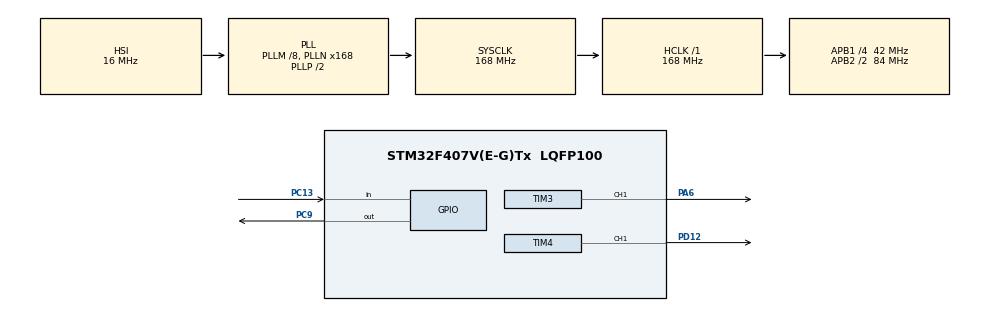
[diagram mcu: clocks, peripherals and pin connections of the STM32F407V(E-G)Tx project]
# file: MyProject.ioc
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Mcu.Family=STM32F4
Mcu.Name=STM32F407V(E-G)Tx
Mcu.Package=LQFP100
NVIC.PriorityGroup=NVIC_PRIORITYGROUP_0
NVIC.TIM3_IRQn=true\:0\:0\:false\:false\:true\:true\:true
PA6.Signal=S_TIM3_CH1
PC13-ANTI_TAMP.Signal=GPIO_Input
PC9.Signal=GPIO_Output
PD12.Signal=S_TIM4_CH1
ProjectManager.HeapSize=0x200
ProjectManager.StackSize=0x400
ProjectManager.TargetToolchain=STM32CubeIDE
RCC.48MHZClocksFreq_Value=67200000
RCC.AHBFreq_Value=168000000
RCC.APB1CLKDivider=RCC_HCLK_DIV4
RCC.APB1Freq_Value=42000000
RCC.APB1TimFreq_Value=84000000
RCC.APB2CLKDivider=RCC_HCLK_DIV2
RCC.APB2Freq_Value=84000000
RCC.APB2TimFreq_Value=168000000
RCC.CortexFreq_Value=168000000
RCC.HCLKFreq_Value=168000000
RCC.HSE_VALUE=8000000
RCC.HSI_VALUE=16000000
RCC.LSE_VALUE=32768
RCC.PLLI2SN=50
RCC.PLLM=8
RCC.PLLN=168
RCC.PLLQ=5
RCC.SYSCLKFreq_VALUE=168000000
RCC.SYSCLKSource=RCC_SYSCLKSOURCE_PLLCLK
RCC.VCOOutputFreq_Value=336000000
SH.S_TIM3_CH1.0=TIM3_CH1,PWM Generation1 CH1
SH.S_TIM4_CH1.0=TIM4_CH1,PWM Generation1 CH1
TIM3.AutoReloadPreload=TIM_AUTORELOAD_PRELOAD_ENABLE
TIM3.Channel-PWM\ Generation1\ CH1=TIM_CHANNEL_1
TIM3.Period=84-1
TIM3.Prescaler=0
TIM4.AutoReloadPreload=TIM_AUTORELOAD_PRELOAD_ENABLE
TIM4.Channel-PWM\ Generation1\ CH1=TIM_CHANNEL_1
TIM4.OCFastMode_PWM-PWM\ Generation1\ CH1=TIM_OCFAST_ENABLE
TIM4.Period=336-1
VP_TIM3_VS_ClockSourceINT.Mode=Internal
VP_TIM4_VS_ClockSourceINT.Mode=Internal
board=STM32F407G-DISC1

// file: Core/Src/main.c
/* USER CODE BEGIN Header */
/**
  ******************************************************************************
  * @file           : main.c
  * @brief          : Main program body
  ******************************************************************************
  * @attention
  *
  * <h2><center>&copy; Copyright (c) 2021 STMicroelectronics.
  * All rights reserved.</center></h2>
  *
  * This software component is licensed by ST under Ultimate Liberty license
  * SLA0044, the "License"; You may not use this file except in compliance with
  * the License. You may obtain a copy of the License at:
  *                             www.st.com/SLA0044
  *
  ******************************************************************************
  */
/* USER CODE END Header */
#include "main.h"

/* USER CODE BEGIN Includes */
#include <MY9221.h>
/* USER CODE END Includes */

/* USER CODE BEGIN PD */
#define hspd 	0
/* HSPD: Iout Tr/Tf select
 * 0: Iout slow mode
 * 1: Iout fast mode
*/
#define bs 		0
/* BS: Grayscale resolution select
 * 0: 8-bit grayscale application
 * 1: 12-bit grayscale application
 * 2: 14-bit grayscale application
 * 3: 16-bit grayscale application
 */
#define gck		0
/* GCK: Internal oscillator frequency select
 * 0: Original frequency (8.6MHz)
 * 1: Original frequency/2
 * 2: Original frequency/4
 * 3: Original frequency/8
 * 4: Original frequency/16
 * 5: Original frequency/64
 * 6: Original frequency/128
 * 7: Original frequency/256
*/
#define sep		0
/* SEP: Output waveform select
 * 0: PY-PWM output waveform (similar to traditional waveform)
 * 1: APDM output waveform
*/
#define osc		0
/* OSC: Grayscale clock source select
 * 0: Internal oscillator (8.6MHZ) (internal GCK source)
 * 1: External clock from GCKI pin (external GCK source)
*/
#define pol		0
/* POL: Output polarity select
 * 0: work as LED driver
 * 1: work as MY-PWM/APDM generator
*/
#define cntset	0
/* CNTSET: Counter reset select
 * 0: free running mode
 * 1: counter reset mode (only usable when osc = '1')
*/
#define onest	0
/* ONEST: One-shot select
 * 0: frame cycle repeat mode
 * 1: frame cycle one-shot mode (only usable when cntset = '1')
*/
/* USER CODE END PD */

TIM_HandleTypeDef htim3;
TIM_HandleTypeDef htim4;

/* USER CODE BEGIN PV */
int CMDArray[16];
int GrayscaleArray[192];
int ColorArray[8] = {0,0,1,0,0,0,0,0}; //Make sure length matches selected grayscale!
//int DataArray[208];
int InputArray[208];
short int InputCounter = 0;

//int TestArray[8]= {1,0,0,1,0,0,0,0};
//short int TestCounter = 0;

/* USER CODE END PV */

void SystemClock_Config(void);
static void MX_GPIO_Init(void);
static void MX_TIM3_Init(void);
static void MX_TIM4_Init(void);
/* USER CODE BEGIN PFP */
void uS_Delay(int);

/* USER CODE END PFP */

int main(void)
{

  /* MCU Configuration--------------------------------------------------------*/

  /* Reset of all peripherals, Initializes the Flash interface and the Systick. */
  HAL_Init();

  /* USER CODE BEGIN Init */
  CMDArray_Init(CMDArray, hspd, bs, gck, sep, osc, pol, cntset, onest);
  Grayscale_Init(GrayscaleArray, bs, ColorArray);
  InputArray_Init(InputArray, CMDArray, GrayscaleArray);

  /* USER CODE END Init */

  /* Configure the system clock */
  SystemClock_Config();

  /* Initialize all configured peripherals */
  MX_GPIO_Init();
  MX_TIM3_Init();
  MX_TIM4_Init();
  /* USER CODE BEGIN 2 */
  HAL_TIM_PWM_Start(&htim3, TIM_CHANNEL_1);		// start the pwm
  HAL_TIM_PWM_Start(&htim4, TIM_CHANNEL_1);
  HAL_TIM_Base_Start_IT(&htim3);

  /* USER CODE END 2 */

  /* Infinite loop */
  /* USER CODE BEGIN WHILE */
  htim3.Instance->CCR1 = (int)(167 * 50 / 100);	//50% duty cycle
  htim4.Instance->CCR1 = (int)(335 * 50 / 100);

  //__disable_irq();
  while (1)
  {
    /* USER CODE END WHILE */

    /* USER CODE BEGIN 3 */

	if (InputCounter == 0)
	{
		__disable_irq();
		GPIOC->BSRR = (1<<25);
		HAL_TIM_PWM_Stop(&htim4, TIM_CHANNEL_1);
		GPIOD->ODR &= ~(1<<12);
		//HAL_Delay(2);
		uS_Delay(40000);
		//Toggle PC9 4 times;
		uS_Delay(100);
		GPIOC->BSRR = (1<<25);
		uS_Delay(100);
		GPIOC->BSRR = (1<<9);
		uS_Delay(100);
		GPIOC->BSRR = (1<<25);
		uS_Delay(100);
		GPIOC->BSRR = (1<<9);
		uS_Delay(100);
		GPIOC->BSRR = (1<<25);
		uS_Delay(100);
		GPIOC->BSRR = (1<<9);
		uS_Delay(100);
		GPIOC->BSRR = (1<<25);
		uS_Delay(40000);
		HAL_TIM_PWM_Start(&htim4, TIM_CHANNEL_1);
	}
	__enable_irq();

  }
  /* USER CODE END 3 */
}

void SystemClock_Config(void)
{
  RCC_OscInitTypeDef RCC_OscInitStruct = {0};
  RCC_ClkInitTypeDef RCC_ClkInitStruct = {0};

  /** Configure the main internal regulator output voltage
  */
  __HAL_RCC_PWR_CLK_ENABLE();
  __HAL_PWR_VOLTAGESCALING_CONFIG(PWR_REGULATOR_VOLTAGE_SCALE1);
  /** Initializes the RCC Oscillators according to the specified parameters
  * in the RCC_OscInitTypeDef structure.
  */
  RCC_OscInitStruct.OscillatorType = RCC_OSCILLATORTYPE_HSI;
  RCC_OscInitStruct.HSIState = RCC_HSI_ON;
  RCC_OscInitStruct.HSICalibrationValue = RCC_HSICALIBRATION_DEFAULT;
  RCC_OscInitStruct.PLL.PLLState = RCC_PLL_ON;
  RCC_OscInitStruct.PLL.PLLSource = RCC_PLLSOURCE_HSI;
  RCC_OscInitStruct.PLL.PLLM = 8;
  RCC_OscInitStruct.PLL.PLLN = 168;
  RCC_OscInitStruct.PLL.PLLP = RCC_PLLP_DIV2;
  RCC_OscInitStruct.PLL.PLLQ = 5;
  if (HAL_RCC_OscConfig(&RCC_OscInitStruct) != HAL_OK)
  {
    Error_Handler();
  }
  /** Initializes the CPU, AHB and APB buses clocks
  */
  RCC_ClkInitStruct.ClockType = RCC_CLOCKTYPE_HCLK|RCC_CLOCKTYPE_SYSCLK
                              |RCC_CLOCKTYPE_PCLK1|RCC_CLOCKTYPE_PCLK2;
  RCC_ClkInitStruct.SYSCLKSource = RCC_SYSCLKSOURCE_PLLCLK;
  RCC_ClkInitStruct.AHBCLKDivider = RCC_SYSCLK_DIV1;
  RCC_ClkInitStruct.APB1CLKDivider = RCC_HCLK_DIV4;
  RCC_ClkInitStruct.APB2CLKDivider = RCC_HCLK_DIV2;

  if (HAL_RCC_ClockConfig(&RCC_ClkInitStruct, FLASH_LATENCY_5) != HAL_OK)
  {
    Error_Handler();
  }
}

static void MX_TIM3_Init(void)
{

  TIM_ClockConfigTypeDef sClockSourceConfig = {0};
  TIM_MasterConfigTypeDef sMasterConfig = {0};
  TIM_OC_InitTypeDef sConfigOC = {0};

  htim3.Instance = TIM3;
  htim3.Init.Prescaler = 0;
  htim3.Init.CounterMode = TIM_COUNTERMODE_UP;
  htim3.Init.Period = 168-1;
  htim3.Init.ClockDivision = TIM_CLOCKDIVISION_DIV1;
  htim3.Init.AutoReloadPreload = TIM_AUTORELOAD_PRELOAD_ENABLE;
  if (HAL_TIM_Base_Init(&htim3) != HAL_OK)
  {
    Error_Handler();
  }
  sClockSourceConfig.ClockSource = TIM_CLOCKSOURCE_INTERNAL;
  if (HAL_TIM_ConfigClockSource(&htim3, &sClockSourceConfig) != HAL_OK)
  {
    Error_Handler();
  }
  if (HAL_TIM_PWM_Init(&htim3) != HAL_OK)
  {
    Error_Handler();
  }
  sMasterConfig.MasterOutputTrigger = TIM_TRGO_RESET;
  sMasterConfig.MasterSlaveMode = TIM_MASTERSLAVEMODE_DISABLE;
  if (HAL_TIMEx_MasterConfigSynchronization(&htim3, &sMasterConfig) != HAL_OK)
  {
    Error_Handler();
  }
  sConfigOC.OCMode = TIM_OCMODE_PWM1;
  sConfigOC.Pulse = 0;
  sConfigOC.OCPolarity = TIM_OCPOLARITY_HIGH;
  sConfigOC.OCFastMode = TIM_OCFAST_ENABLE;
  if (HAL_TIM_PWM_ConfigChannel(&htim3, &sConfigOC, TIM_CHANNEL_1) != HAL_OK)
  {
    Error_Handler();
  }
  HAL_TIM_MspPostInit(&htim3);

}

static void MX_TIM4_Init(void)
{

  TIM_ClockConfigTypeDef sClockSourceConfig = {0};
  TIM_MasterConfigTypeDef sMasterConfig = {0};
  TIM_OC_InitTypeDef sConfigOC = {0};

  htim4.Instance = TIM4;
  htim4.Init.Prescaler = 0;
  htim4.Init.CounterMode = TIM_COUNTERMODE_UP;
  htim4.Init.Period = 336-1;
  htim4.Init.ClockDivision = TIM_CLOCKDIVISION_DIV1;
  htim4.Init.AutoReloadPreload = TIM_AUTORELOAD_PRELOAD_ENABLE;
  if (HAL_TIM_Base_Init(&htim4) != HAL_OK)
  {
    Error_Handler();
  }
  sClockSourceConfig.ClockSource = TIM_CLOCKSOURCE_INTERNAL;
  if (HAL_TIM_ConfigClockSource(&htim4, &sClockSourceConfig) != HAL_OK)
  {
    Error_Handler();
  }
  if (HAL_TIM_PWM_Init(&htim4) != HAL_OK)
  {
    Error_Handler();
  }
  sMasterConfig.MasterOutputTrigger = TIM_TRGO_RESET;
  sMasterConfig.MasterSlaveMode = TIM_MASTERSLAVEMODE_DISABLE;
  if (HAL_TIMEx_MasterConfigSynchronization(&htim4, &sMasterConfig) != HAL_OK)
  {
    Error_Handler();
  }
  sConfigOC.OCMode = TIM_OCMODE_PWM1;
  sConfigOC.Pulse = 0;
  sConfigOC.OCPolarity = TIM_OCPOLARITY_HIGH;
  sConfigOC.OCFastMode = TIM_OCFAST_ENABLE;
  if (HAL_TIM_PWM_ConfigChannel(&htim4, &sConfigOC, TIM_CHANNEL_1) != HAL_OK)
  {
    Error_Handler();
  }
  HAL_TIM_MspPostInit(&htim4);

}

static void MX_GPIO_Init(void)
{
  GPIO_InitTypeDef GPIO_InitStruct = {0};

  /* GPIO Ports Clock Enable */
  __HAL_RCC_GPIOC_CLK_ENABLE();
  __HAL_RCC_GPIOA_CLK_ENABLE();
  __HAL_RCC_GPIOD_CLK_ENABLE();

  /*Configure GPIO pin Output Level */
  HAL_GPIO_WritePin(GPIOC, GPIO_PIN_9, GPIO_PIN_RESET);

  /*Configure GPIO pin : PC13 */
  GPIO_InitStruct.Pin = GPIO_PIN_13;
  GPIO_InitStruct.Mode = GPIO_MODE_INPUT;
  GPIO_InitStruct.Pull = GPIO_NOPULL;
  HAL_GPIO_Init(GPIOC, &GPIO_InitStruct);

  /*Configure GPIO pin : PC9 */
  GPIO_InitStruct.Pin = GPIO_PIN_9;
  GPIO_InitStruct.Mode = GPIO_MODE_OUTPUT_PP;
  GPIO_InitStruct.Pull = GPIO_NOPULL;
  GPIO_InitStruct.Speed = GPIO_SPEED_FREQ_LOW;
  HAL_GPIO_Init(GPIOC, &GPIO_InitStruct);

}

/* USER CODE BEGIN 4 */
void uS_Delay(int delay)
{
	CoreDebug->DEMCR |= CoreDebug_DEMCR_TRCENA_Msk;
	DWT->CYCCNT = 0;
	DWT->CTRL |= DWT_CTRL_CYCCNTENA_Msk;
	while ((DWT->CYCCNT) < delay)
	{
		;
	}
}

/* USER CODE END 4 */

void Error_Handler(void)
{
  __disable_irq();
  while (1)
  {
  }
}

/************************ (C) COPYRIGHT STMicroelectronics *****END OF FILE****/
